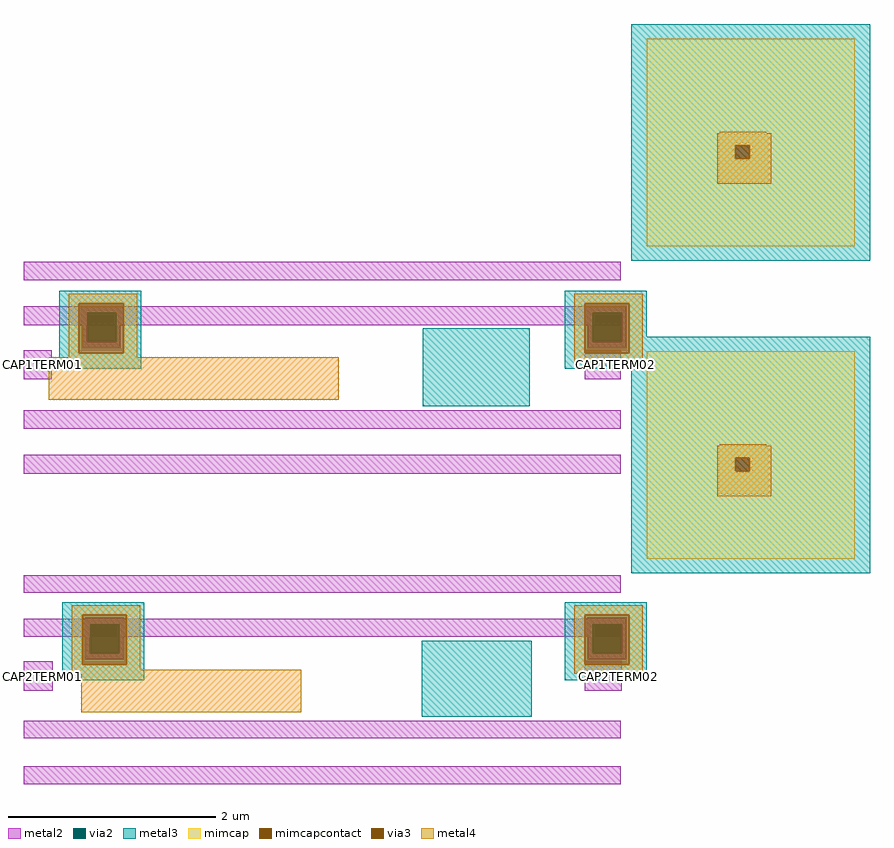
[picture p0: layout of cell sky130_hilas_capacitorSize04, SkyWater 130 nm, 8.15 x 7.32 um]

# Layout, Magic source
magic
tech sky130A
<< metal2 >>
rect 0 485 575 503
rect 0 442 575 460
rect 0 390 27 418
rect 540 390 575 418
rect 0 342 575 360
rect 0 299 575 317
rect 0 184 575 201
rect 0 142 575 159
rect 0 90 28 118
rect 540 90 576 118
rect 0 44 575 61
rect 0 0 575 17
<< metal3 >>
rect 384 364 487 439
rect 383 65 489 138
<< metal4 >>
rect 24 370 303 411
rect 55 69 267 110
use sky130_hilas_m22m4  sky130_hilas_m22m4_4
transform 1 0 521 0 1 100
box 0 0 79 75
use sky130_hilas_m22m4  sky130_hilas_m22m4_3
transform 1 0 521 0 1 400
box 0 0 79 75
use sky130_hilas_m22m4  sky130_hilas_m22m4_5
transform 1 0 37 0 1 100
box 0 0 79 75
use sky130_hilas_m22m4  sky130_hilas_m22m4_2
transform 1 0 34 0 1 400
box 0 0 79 75
use sky130_hilas_CapModule01a  sky130_hilas_CapModule01a_0
transform 1 0 585 0 1 203
box 0 0 230 228
use sky130_hilas_CapModule01a  sky130_hilas_CapModule01a_1
transform 1 0 585 0 1 504
box 0 0 230 228
<< labels >>
rlabel metal2 565 390 575 418 0 CAP1TERM02
port 1 nsew analog default
rlabel metal2 0 390 7 418 0 CAP1TERM01
port 4 nsew analog default
rlabel metal2 0 90 6 118 0 CAP2TERM01
port 3 nsew analog default
rlabel metal2 569 90 576 118 0 CAP2TERM02
port 2 nsew analog default
<< properties >>
string LEFsite unithd
string LEFclass CORE
string LEFsymmetry X Y R90
<< end >>

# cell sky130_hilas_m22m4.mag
magic
tech sky130A
<< metal2 >>
rect 22 54 59 60
rect 22 26 27 54
rect 55 26 59 54
rect 22 20 59 26
<< via2 >>
rect 27 26 55 54
<< metal3 >>
rect 0 63 79 75
rect 0 15 19 63
rect 62 15 79 63
rect 0 0 79 15
<< via3 >>
rect 19 54 62 63
rect 19 26 27 54
rect 27 26 55 54
rect 55 26 62 54
rect 19 15 62 26
<< metal4 >>
rect 9 63 75 72
rect 9 15 19 63
rect 62 15 75 63
rect 9 6 75 15
<< properties >>
string LEFsite unithd
string LEFclass CORE
string LEFsymmetry X Y R90
<< end >>

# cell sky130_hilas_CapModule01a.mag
magic
tech sky130A
<< metal3 >>
rect 0 0 230 228
<< mimcap >>
rect 15 111 215 214
rect 15 98 100 111
rect 114 98 215 111
rect 15 14 215 98
<< mimcapcontact >>
rect 100 98 114 111
<< metal4 >>
rect 85 123 130 124
rect 83 111 135 123
rect 83 98 100 111
rect 114 98 135 111
rect 83 74 135 98
<< properties >>
string LEFsite unithd
string LEFclass CORE
string LEFsymmetry X Y R90
<< end >>
